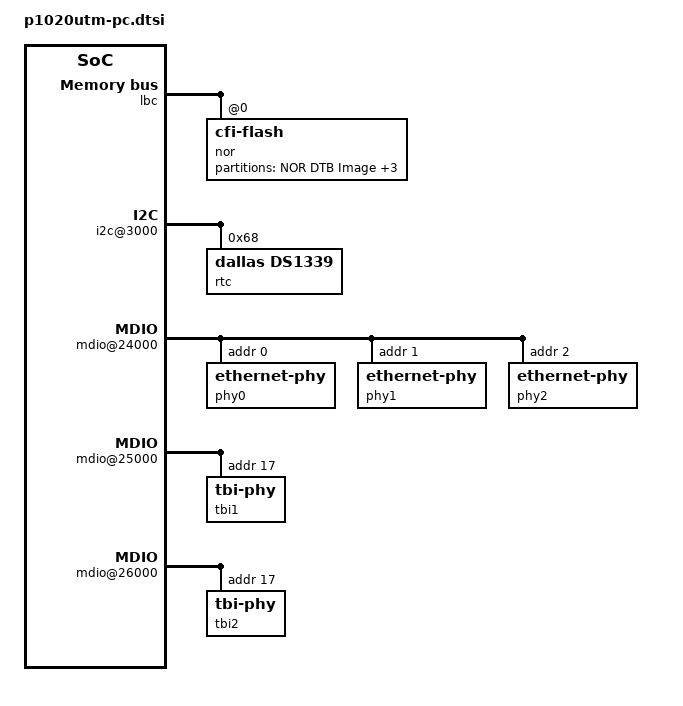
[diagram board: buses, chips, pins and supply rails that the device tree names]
/*
 * P1020 UTM-PC Device Tree Source stub (no addresses or top-level ranges)
 *
 * Copyright 2012 Freescale Semiconductor Inc.
 *
 * Redistribution and use in source and binary forms, with or without
 * modification, are permitted provided that the following conditions are met:
 *     * Redistributions of source code must retain the above copyright
 *       notice, this list of conditions and the following disclaimer.
 *     * Redistributions in binary form must reproduce the above copyright
 *       notice, this list of conditions and the following disclaimer in the
 *       documentation and/or other materials provided with the distribution.
 *     * Neither the name of Freescale Semiconductor nor the
 *       names of its contributors may be used to endorse or promote products
 *       derived from this software without specific prior written permission.
 *
 *
 * ALTERNATIVELY, this software may be distributed under the terms of the
 * GNU General Public License ("GPL") as published by the Free Software
 * Foundation, either version 2 of that License or (at your option) any
 * later version.
 *
 * THIS SOFTWARE IS PROVIDED BY Freescale Semiconductor ``AS IS'' AND ANY
 * EXPRESS OR IMPLIED WARRANTIES, INCLUDING, BUT NOT LIMITED TO, THE IMPLIED
 * WARRANTIES OF MERCHANTABILITY AND FITNESS FOR A PARTICULAR PURPOSE ARE
 * DISCLAIMED. IN NO EVENT SHALL Freescale Semiconductor BE LIABLE FOR ANY
 * DIRECT, INDIRECT, INCIDENTAL, SPECIAL, EXEMPLARY, OR CONSEQUENTIAL DAMAGES
 * (INCLUDING, BUT NOT LIMITED TO, PROCUREMENT OF SUBSTITUTE GOODS OR SERVICES;
 * LOSS OF USE, DATA, OR PROFITS; OR BUSINESS INTERRUPTION) HOWEVER CAUSED AND
 * ON ANY THEORY OF LIABILITY, WHETHER IN CONTRACT, STRICT LIABILITY, OR TORT
 * (INCLUDING NEGLIGENCE OR OTHERWISE) ARISING IN ANY WAY OUT OF THE USE OF THIS
 * SOFTWARE, EVEN IF ADVISED OF THE POSSIBILITY OF SUCH DAMAGE.
 */

&lbc {
	nor@0,0 {
		#address-cells = <1>;
		#size-cells = <1>;
		compatible = "cfi-flash";
		reg = <0x0 0x0 0x2000000>;
		bank-width = <2>;
		device-width = <1>;

		partition@0 {
			/* 256KB for DTB Image */
			reg = <0x0 0x00040000>;
			label = "NOR DTB Image";
		};

		partition@40000 {
			/* 3.75 MB for Linux Kernel Image */
			reg = <0x00040000 0x003c0000>;
			label = "NOR Linux Kernel Image";
		};

		partition@400000 {
			/* 27MB for Root file System */
			reg = <0x00400000 0x01b00000>;
			label = "NOR Root File System";
		};

		partition@1f00000 {
			/* This location must not be altered  */
			/* 512KB for u-boot Bootloader Image */
			/* 512KB for u-boot Environment Variables */
			reg = <0x01f00000 0x00100000>;
			label = "NOR U-Boot Image";
			read-only;
		};
	};
};

&soc {
	i2c@3000 {
		rtc@68 {
			compatible = "dallas,ds1339";
			reg = <0x68>;
		};
	};

	mdio@24000 {
		phy0: ethernet-phy@0 {
			interrupts = <3 1 0 0>;
			reg = <0x0>;
		};
		phy1: ethernet-phy@1 {
			interrupts = <2 1 0 0>;
			reg = <0x1>;
		};
		phy2: ethernet-phy@2 {
			interrupts = <1 1 0 0>;
			reg = <0x2>;
		};
	};

	mdio@25000 {
		tbi1: tbi-phy@11 {
			reg = <0x11>;
			device_type = "tbi-phy";
		};
	};

	mdio@26000 {
		tbi2: tbi-phy@11 {
			reg = <0x11>;
			device_type = "tbi-phy";
		};
	};

	enet0: ethernet@b0000 {
		phy-handle = <&phy2>;
		phy-connection-type = "rgmii-id";
	};

	enet1: ethernet@b1000 {
		phy-handle = <&phy0>;
		tbi-handle = <&tbi1>;
		phy-connection-type = "sgmii";
	};

	enet2: ethernet@b2000 {
		phy-handle = <&phy1>;
		phy-connection-type = "rgmii-id";
	};

	usb@22000 {
		phy_type = "ulpi";
	};

	/* USB2 is shared with localbus, so it must be disabled
	   by default. We can't put 'status = "disabled";' here
	   since U-Boot doesn't clear the status property when
	   it enables USB2. OTOH, U-Boot does create a new node
	   when there isn't any. So, just comment it out.
	*/
	usb@23000 {
		status = "disabled";
		phy_type = "ulpi";
	};
};
